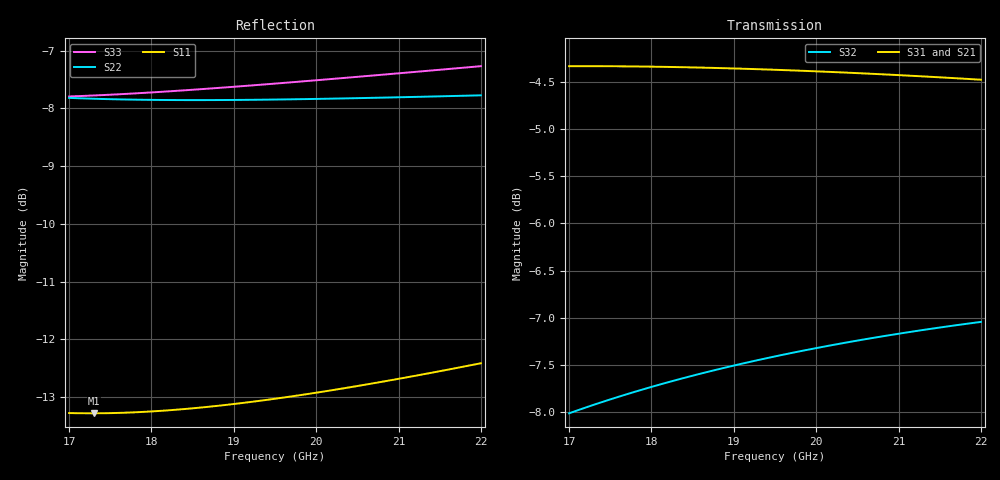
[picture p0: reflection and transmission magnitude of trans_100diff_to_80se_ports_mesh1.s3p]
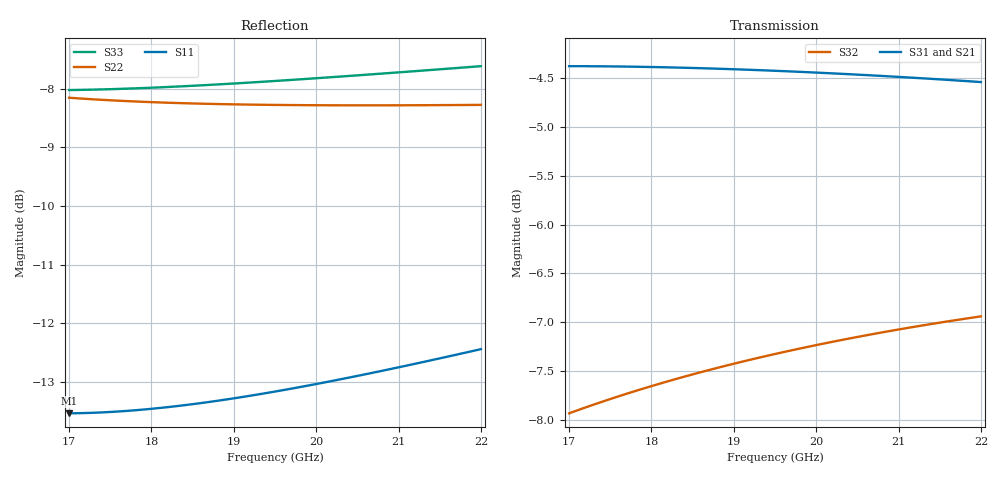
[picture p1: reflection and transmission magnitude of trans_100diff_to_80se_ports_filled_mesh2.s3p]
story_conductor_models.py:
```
#!/usr/bin/env python
"""Plot and numbers for README.md section "Conductor model": surface impedance (the mesh study above) vs. conductors meshed as
volumes: settings['conductor_model'] = 'solve_inside' and 'solve_inside_skin'.

Writes results/plots/story_conductor_models.png (insertion loss and input match vs. frequency) and prints the numbers
quoted in README.md. Reference: 'solve_inside_skin', 1 um mesh. DOF from the Palace output of each run.
"""
import os
import numpy as np
import matplotlib
matplotlib.use("Agg")
import matplotlib.pyplot as plt

import story_plots as S

BLUE = "#2a78d6"
ORANGE = "#eb6834"
AQUA = "#1baf7a"
RUNS = [  # label, Touchstone file, DOF, color, line style
    ("surface impedance, 1 µm", "trans_100diff_to_80se_ports_mesh1.s3p", 2089338, BLUE, "-"),
    ("solve_inside, 2 µm", "trans_100diff_to_80se_ports_filled_mesh2.s3p", 1160572, ORANGE, "--"),
    ("solve_inside_skin, 2 µm", "trans_100diff_to_80se_ports_skin_mesh2.s3p", 1674686, AQUA, "--"),
    ("solve_inside_skin, 1 µm", "trans_100diff_to_80se_ports_skin_mesh1.s3p", 3909762, S.INK, "-"),
]
TABLE = RUNS[-1:] + [("solve_inside_skin, 2 µm", "trans_100diff_to_80se_ports_skin_mesh2.s3p", 1674686, None, None),
                     ("solve_inside_skin, 3 µm", "trans_100diff_to_80se_ports_skin_mesh3.s3p", 1157358, None, None),
                     ("solve_inside, 2 µm", "trans_100diff_to_80se_ports_filled_mesh2.s3p", 1160572, None, None),
                     ("surface impedance, 1 µm", "trans_100diff_to_80se_ports_mesh1.s3p", 2089338, None, None),
                     ("surface impedance, 2 µm", "trans_100diff_to_80se_ports_mesh2.s3p", 958742, None, None)]
REFERENCE = "trans_100diff_to_80se_ports_skin_mesh1.s3p"


def plot():
    fig, axes = plt.subplots(1, 2, figsize=(10, 3.9), sharex=True)
    for label, fname, _, color, ls in RUNS:
        ntw = S.load(fname)
        m = S.merits(ntw)
        axes[0].plot(ntw.f / 1e9, m["IL"], color=color, linestyle=ls, linewidth=2, label=label)
        axes[1].plot(ntw.f / 1e9, m["Sss11"], color=color, linestyle=ls, linewidth=2, label=label)
    for ax, title in zip(axes, ("Insertion loss (dB)", "Input match |Sss11| (dB)")):
        S.style(ax)
        ax.set_title(title, loc="left", fontsize=11, color=S.INK)
        ax.set_xlabel("Frequency (GHz)", color=S.INK2)
    handles, labels = axes[0].get_legend_handles_labels()
    fig.legend(handles, labels, loc="upper center", ncol=3, frameon=False, fontsize=9)
    fig.tight_layout(rect=(0, 0, 1, 0.84))
    out = os.path.join(S.PLOT_DIR, "story_conductor_models.png")
    fig.savefig(out, dpi=130, facecolor="white")
    plt.close(fig)
    print("wrote", out)


def numbers():
    ref = S.merits(S.load(REFERENCE))
    print(f"\n17-22 GHz, relative to {REFERENCE}")
    print(f"{'model':30s} {'DOF':>10s} {'IL min..max':>12s} {'dIL max':>8s} {'Sss11 max':>9s} {'null':>6s} {'Sdd22 max':>9s} {'|ph| max':>8s}")
    for label, fname, dof, _, _ in TABLE:
        ntw = S.load(fname)
        m = S.merits(ntw)
        dil = m["IL"] - ref["IL"]
        print(f"{label:30s} {dof:10,d} {m['IL'].min():5.2f}..{m['IL'].max():5.2f} {dil[np.abs(dil).argmax()]:+8.2f} "
              f"{m['Sss11'].max():9.1f} {ntw.f[m['Sss11'].argmin()] / 1e9:5.1f}G {m['Sdd22'].max():9.1f} "
              f"{np.abs(m['phase']).max():8.2f}")


if __name__ == "__main__":
    plot()
    numbers()
```
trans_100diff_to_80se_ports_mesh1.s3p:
#  GHZ S DB R 50.0
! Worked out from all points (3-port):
!   51 points, 17 GHz to 22 GHz, reference 50 ohm
!   strongest paths, dB at 17 GHz, 18.2 GHz, 19.5 GHz, 20.8 GHz, 22 GHz:
!     S31: -4.3, -4.3, -4.4, -4.4, -4.5
!     S21: -4.5, -4.4, -4.4, -4.4, -4.4
!     S32: -8.0, -7.7, -7.4, -7.2, -7.0
!   lowest |S11| = -13.3 dB at 17.3 GHz (marker M1), VSWR 1.55, Z = 76.4 + j7.61 ohm
!   |S11| at or under -10 dB: start of sweep to end of sweep
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17  -13.27 16.5  -4.48 -171.8  -4.33 7.6
    -4.48 -171.8  -7.82 96.2  -8.01 73.8
    -4.33 7.6  -8.01 73.8  -7.79 93.0
17.3  -13.28 12.7  -4.46 -174.0  -4.33 5.5
      -4.46 -174.0  -7.83 93.3  -7.92 71.7
      -4.33 5.5  -7.92 71.7  -7.78 90.1
18.4  -13.20 -0.3  -4.42 178.4  -4.34 -1.8
      -4.42 178.4  -7.86 83.5  -7.64 64.4
      -4.34 -1.8  -7.64 64.4  -7.69 80.7
19.5  -13.03 -11.7  -4.40 171.2  -4.37 -8.7
      -4.40 171.2  -7.85 74.9  -7.41 57.8
      -4.37 -8.7  -7.41 57.8  -7.57 72.4
22  -12.41 -33.4  -4.39 156.1  -4.48 -22.9
    -4.39 156.1  -7.77 59.3  -7.04 44.5
    -4.48 -22.9  -7.04 44.5  -7.27 57.3
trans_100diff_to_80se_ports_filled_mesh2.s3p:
#  GHZ S DB R 50.0
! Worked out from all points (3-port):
!   51 points, 17 GHz to 22 GHz, reference 50 ohm
!   strongest paths, dB at 17 GHz, 18.2 GHz, 19.5 GHz, 20.8 GHz, 22 GHz:
!     S31: -4.4, -4.4, -4.4, -4.5, -4.5
!     S21: -4.6, -4.5, -4.5, -4.5, -4.5
!     S32: -7.9, -7.6, -7.3, -7.1, -6.9
!   lowest |S11| = -13.5 dB at 17 GHz (marker M1), VSWR 1.53, Z = 75.1 + j8.15 ohm
!   |S11| at or under -10 dB: start of sweep to end of sweep
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17  -13.53 14.3  -4.55 -173.6  -4.38 6.1
    -4.55 -173.6  -8.15 95.1  -7.93 73.0
    -4.38 6.1  -7.93 73.0  -8.02 92.0
18.1  -13.44 0.7  -4.51 178.6  -4.39 -1.3
      -4.51 178.6  -8.23 84.9  -7.63 65.8
      -4.39 -1.3  -7.63 65.8  -7.98 82.1
19.3  -13.21 -12.3  -4.49 170.7  -4.42 -8.8
      -4.49 170.7  -8.27 75.3  -7.36 58.7
      -4.42 -8.8  -7.36 58.7  -7.89 72.8
20.6  -12.87 -24.5  -4.48 162.7  -4.47 -16.4
      -4.48 162.7  -8.28 66.4  -7.13 51.6
      -4.47 -16.4  -7.13 51.6  -7.76 64.2
22  -12.44 -36.1  -4.49 154.5  -4.54 -24.1
    -4.49 154.5  -8.28 58.2  -6.94 44.6
    -4.54 -24.1  -6.94 44.6  -7.62 56.2
